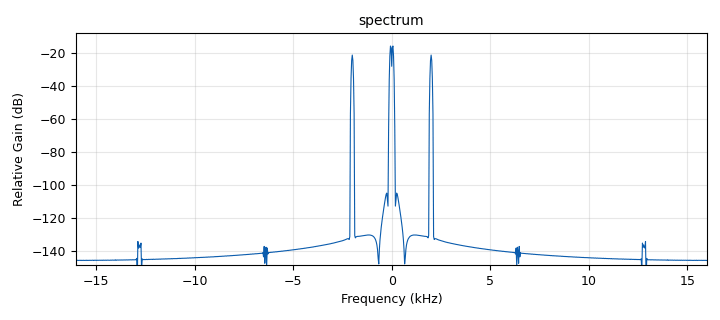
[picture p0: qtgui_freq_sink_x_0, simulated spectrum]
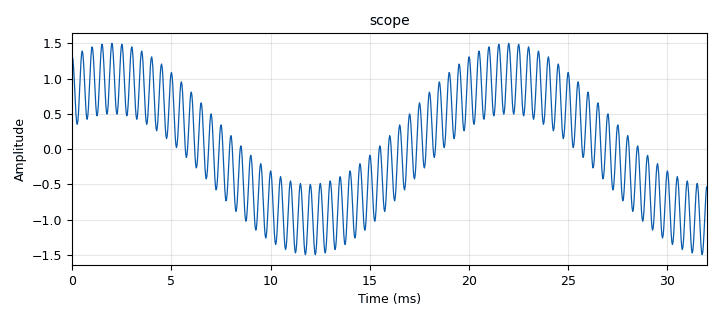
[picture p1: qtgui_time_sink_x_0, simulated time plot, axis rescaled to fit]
options:
  parameters:
    author: wcc
    generate_options: qt_gui
    id: lab2_signal_control
    output_language: python
    title: lab2_signal_control
  states: {}

blocks:
- name: amp_0
  id: variable_qtgui_range
  parameters:
    label: Amplitude0
    orient: Qt.Horizontal
    start: '0'
    step: '0.05'
    stop: '1'
    value: '1'
  states: {}
- name: amp_1
  id: variable_qtgui_range
  parameters:
    label: Amplitude1
    orient: Qt.Horizontal
    start: '0'
    step: '0.05'
    stop: '2'
    value: '0.5'
  states: {}
- name: freq_0
  id: variable_qtgui_range
  parameters:
    label: Frequency0
    orient: Qt.Horizontal
    rangeType: int
    start: '0'
    step: '50'
    stop: '5000'
    value: '50'
  states: {}
- name: freq_1
  id: variable_qtgui_range
  parameters:
    label: Frequency1
    orient: Qt.Horizontal
    rangeType: int
    start: '0'
    step: '50'
    stop: '10000'
    value: '2000'
  states: {}
- name: samp_rate
  id: variable
  parameters:
    value: '32000'
  states: {}
- name: analog_sig_source_x_0
  id: analog_sig_source_x
  parameters:
    amp: amp_0
    freq: freq_0
    offset: '0'
    phase: '0'
    samp_rate: samp_rate
    type: float
    waveform: analog.GR_COS_WAVE
  states: {}
- name: analog_sig_source_x_0_0
  id: analog_sig_source_x
  parameters:
    amp: amp_1
    freq: freq_1
    offset: '0'
    phase: '0'
    samp_rate: samp_rate
    type: float
    waveform: analog.GR_COS_WAVE
  states: {}
- name: blocks_add_xx_0
  id: blocks_add_xx
  parameters:
    type: float
  states: {}
- name: blocks_throttle_0
  id: blocks_throttle
  parameters:
    samples_per_second: samp_rate
    type: float
  states: {}
- name: qtgui_freq_sink_x_0
  id: qtgui_freq_sink_x
  parameters:
    autoscale: 'True'
    bw: samp_rate
    fc: '0'
    fftsize: '1024'
    name: '"spectrum"'
    type: float
    wintype: firdes.WIN_BLACKMAN_hARRIS
  states: {}
- name: qtgui_time_sink_x_0
  id: qtgui_time_sink_x
  parameters:
    name: '"scope"'
    size: '1024'
    srate: samp_rate
    type: float
  states: {}

connections:
- [analog_sig_source_x_0, '0', blocks_add_xx_0, '0']
- [analog_sig_source_x_0_0, '0', blocks_add_xx_0, '1']
- [blocks_add_xx_0, '0', blocks_throttle_0, '0']
- [blocks_throttle_0, '0', qtgui_freq_sink_x_0, '0']
- [blocks_throttle_0, '0', qtgui_time_sink_x_0, '0']

metadata:
  file_format: 1
